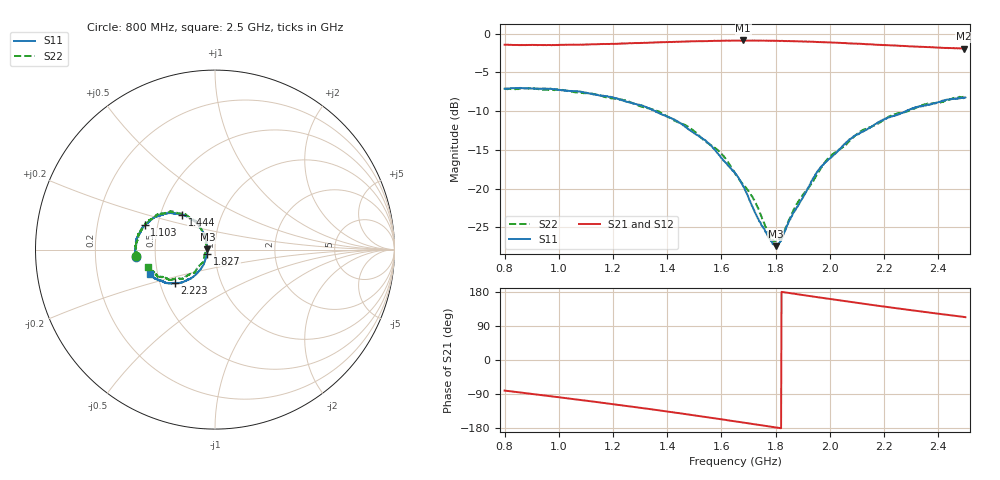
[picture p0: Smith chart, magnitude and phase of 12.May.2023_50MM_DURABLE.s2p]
!Keysight Technologies N9950B: A.12.38
!Date: Friday, 12 May 2023 13:32:44
!Timezone: (UTC-06:00) Central Time (US & Canada)
!Model: N9950B
!Serial: MY61131330
!GPS Latitude:
!GPS Longitude:
!GPS TimeStamp: 0001-01-01 00:00:00Z
!GPS Seconds Since Last Read: 0
!CHECKSUM:1302254775
!Correction: S11(ON U)S21(ON U)S12(ON U)S22(ON U)
!S2P File: Measurements:S11,S21,S12,S22:
# Hz S DB R 50
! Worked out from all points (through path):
!   1001 points, 800 MHz to 2.5 GHz, reference 50 ohm
!   highest |S21| = -0.90 dB at 1.681 GHz (marker M1); lowest = -1.9 dB at 2.495 GHz (marker M2)
!   group delay of S21, straight-line fit = 279 ps
!   lowest |S11| = -27.4 dB at 1.8 GHz (marker M3), VSWR 1.09, Z = 45.9 + j0.177 ohm
!   |S11| at or under -10 dB: 1.355 GHz to 2.282 GHz (927.1 MHz wide, 51 % of centre)
!   |S22| runs from -26.8 to -7.0 dB; largest |S21 - S12| = 0.0052
!   S11 on the Smith chart (normalised r, x): 800 MHz: 0.39, -0.04; 1.103 GHz: 0.42, +0.14; 1.444 GHz: 0.65, +0.27; 1.827 GHz: 0.91, -0.04; 2.223 GHz: 0.60, -0.24; 2.5 GHz: 0.45, -0.14
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8e8  -7.12 -174.3  -1.45 -80.7  -1.46 -80.7  -7.12 -175.1
1.0839e9  -7.52 162.6  -1.46 -105.9  -1.45 -105.9  -7.65 160.6
1.1026e9  -7.64 161.0  -1.41 -107.5  -1.44 -107.5  -7.68 159.1
1.242e9  -8.67 149.3  -1.28 -120.5  -1.29 -120.5  -8.62 147.6
1.3678e9  -10.24 139.0  -1.13 -132.8  -1.15 -132.6  -10.01 137.9
1.4443e9  -11.46 133.0  -1.06 -140.4  -1.07 -140.4  -11.47 131.2
1.5429e9  -13.86 126.9  -0.97 -150.6  -0.97 -150.5  -13.96 125.4
1.5905e9  -15.66 124.2  -0.94 -155.5  -0.95 -155.6  -15.16 123.0
1.65e9  -17.96 124.1  -0.90 -161.9  -0.93 -161.9  -17.98 123.8
1.6806e9  -19.66 125.2  -0.90 -165.0  -0.93 -165.1  -19.44 123.2
1.7418e9  -24.27 140.2  -0.92 -171.7  -0.93 -171.7  -23.16 139.2
1.7775e9  -26.37 157.8  -0.93 -175.6  -0.95 -175.5  -25.95 159.3
1.7996e9  -27.42 177.4  -0.96 -177.9  -0.97 -177.9  -26.79 171.6
1.8268e9  -26.06 -153.9  -0.97 179.3  -0.98 179.2  -25.75 -169.5
1.8744e9  -22.57 -135.8  -1.00 174.1  -1.02 174.3  -22.11 -141.8
1.9339e9  -18.95 -126.6  -1.06 167.9  -1.09 168.0  -19.25 -134.1
2.007e9  -15.90 -127.1  -1.16 160.2  -1.18 160.4  -15.66 -131.8
2.0903e9  -13.20 -130.9  -1.29 151.9  -1.32 151.8  -13.25 -137.0
2.2178e9  -10.81 -139.4  -1.51 139.3  -1.52 139.4  -10.71 -144.9
2.2229e9  -10.76 -140.0  -1.53 138.8  -1.53 138.8  -10.66 -145.1
2.4949e9  -8.23 -159.4  -1.95 113.4  -1.96 113.5  -8.18 -164.8
2.5e9  -8.26 -159.5  -1.94 113.0  -1.95 113.0  -8.25 -165.5
